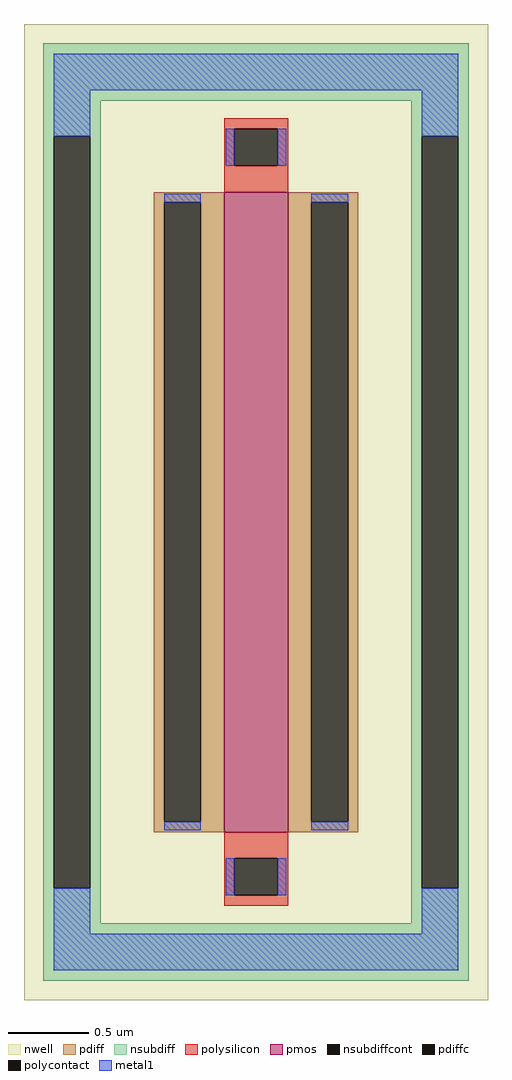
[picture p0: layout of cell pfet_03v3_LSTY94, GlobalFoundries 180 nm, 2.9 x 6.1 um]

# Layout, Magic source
magic
tech gf180mcuD
magscale 1 10
<< nwell >>
rect -290 -610 290 610
<< pmos >>
rect -40 -400 40 400
<< pdiff >>
rect -128 387 -40 400
rect -128 -387 -115 387
rect -69 -387 -40 387
rect -128 -400 -40 -387
rect 40 387 128 400
rect 40 -387 69 387
rect 115 -387 128 387
rect 40 -400 128 -387
<< pdiffc >>
rect -115 -387 -69 387
rect 69 -387 115 387
<< nsubdiff >>
rect -266 514 266 586
rect -266 470 -194 514
rect -266 -470 -253 470
rect -207 -470 -194 470
rect 194 470 266 514
rect -266 -514 -194 -470
rect 194 -470 207 470
rect 253 -470 266 470
rect 194 -514 266 -470
rect -266 -586 266 -514
<< nsubdiffcont >>
rect -253 -470 -207 470
rect 207 -470 253 470
<< polysilicon >>
rect -40 479 40 492
rect -40 433 -27 479
rect 27 433 40 479
rect -40 400 40 433
rect -40 -433 40 -400
rect -40 -479 -27 -433
rect 27 -479 40 -433
rect -40 -492 40 -479
<< polycontact >>
rect -27 433 27 479
rect -27 -479 27 -433
<< metal1 >>
rect -253 527 253 573
rect -253 470 -207 527
rect -38 433 -27 479
rect 27 433 38 479
rect 207 470 253 527
rect -115 387 -69 398
rect -115 -398 -69 -387
rect 69 387 115 398
rect 69 -398 115 -387
rect -253 -527 -207 -470
rect -38 -479 -27 -433
rect 27 -479 38 -433
rect 207 -527 253 -470
rect -253 -573 253 -527
<< properties >>
string FIXED_BBOX -230 -550 230 550
string gencell pfet_03v3
string library gf180mcu
string parameters w 4.0 l 0.4 m 1 nf 1 diffcov 100 polycov 100 guard 1 glc 1 grc 1 gtc 0 gbc 0 tbcov 100 rlcov 100 topc 1 botc 1 poverlap 0 doverlap 1 lmin 0.28 wmin 0.22 class mosfet full_metal 1 compatible {pfet_03v3 pfet_06v0}
<< end >>
